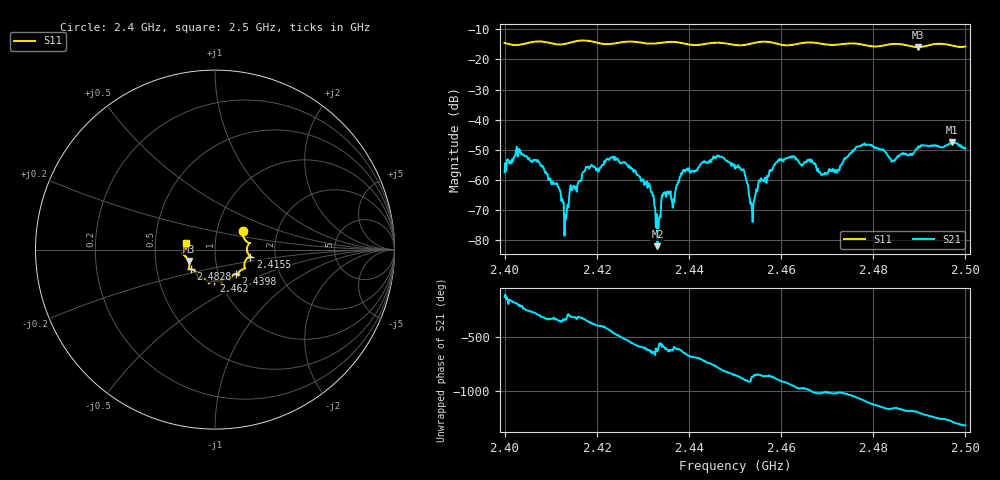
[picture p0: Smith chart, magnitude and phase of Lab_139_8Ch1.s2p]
# Hz S RI R 50
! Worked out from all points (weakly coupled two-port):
!   601 points, 2.4 GHz to 2.5 GHz, reference 50 ohm
!   highest |S21| = -47.54 dB at 2.497 GHz (marker M1); lowest = -82.1 dB at 2.4332 GHz (marker M2)
!   lowest |S11| = -15.9 dB at 2.4897 GHz (marker M3), VSWR 1.38, Z = 36.9 - j4.84 ohm
!   |S11| at or under -10 dB: start of sweep to end of sweep
!   S12 and S22 are empty: the file has one direction only
!   S11 on the Smith chart (normalised r, x): 2.4 GHz: 1.33, +0.29; 2.4155 GHz: 1.49, -0.12; 2.4398 GHz: 1.21, -0.34; 2.462 GHz: 0.93, -0.33; 2.4828 GHz: 0.74, -0.17; 2.5 GHz: 0.72, +0.06
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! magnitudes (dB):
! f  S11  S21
! 2.4 GHz  -14.5  -57.5
! 2.4028 GHz  -15.2  -52.3
! 2.407 GHz  -14.0  -54.1
! 2.4133 GHz  -14.7  -73.1
! 2.4155 GHz  -13.9  -62.3
! 2.4167 GHz  -13.7  -60.2
! 2.4262 GHz  -14.1  -54.2
! 2.4317 GHz  -14.8  -63.3
! 2.4332 GHz  -14.6  -82.1
! 2.4333 GHz  -14.6  -78.7
! 2.4345 GHz  -14.3  -64.3
! 2.4398 GHz  -15.0  -56.9
! 2.45 GHz  -15.2  -56.3
! 2.452 GHz  -15.2  -57.2
! 2.4537 GHz  -14.6  -69.4
! 2.462 GHz  -15.2  -52.3
! 2.4667 GHz  -14.4  -53.4
! 2.4828 GHz  -15.2  -51.1
! 2.4833 GHz  -15.0  -52.4
! 2.4897 GHz  -15.9  -49.6
! 2.497 GHz  -15.4  -47.5
! 2.5 GHz  -15.7  -49.5
